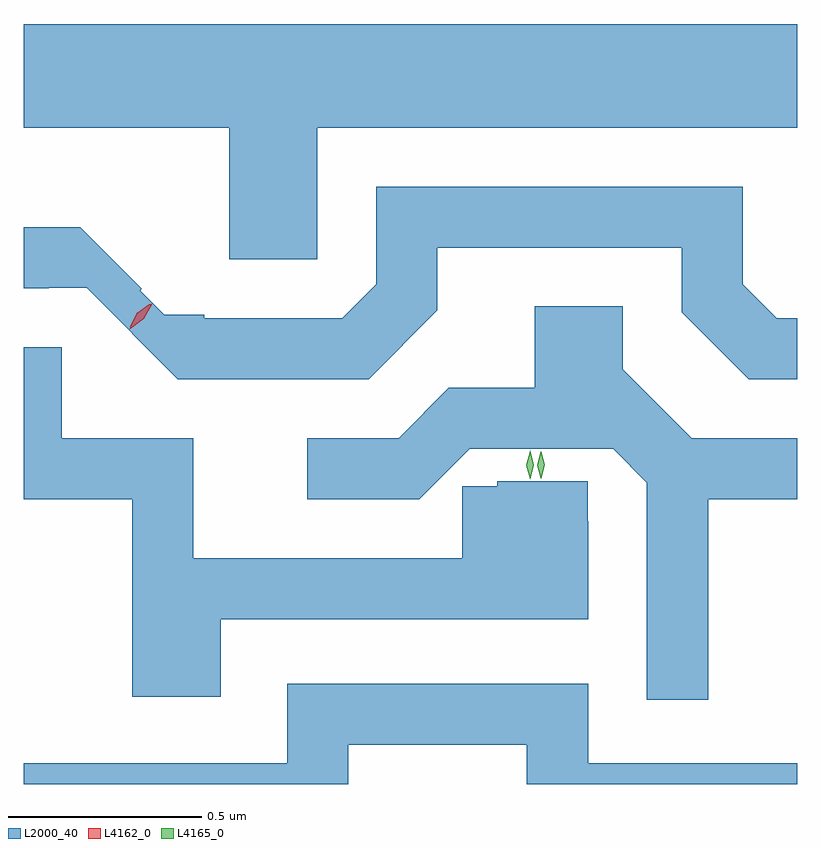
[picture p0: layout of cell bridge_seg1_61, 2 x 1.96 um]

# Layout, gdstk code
import gdstk
lib = gdstk.Library(unit=1e-6, precision=1e-09)
def P(c, l, *ps):  # polygons
    for p in ps: c.add(gdstk.Polygon(p, *l))
L2000_40 = (2000, 40)
L4162_0 = (4162, 0)
L4165_0 = (4165, 0)

bridge_seg1_61 = lib.new_cell('bridge_seg1_61')
P(bridge_seg1_61, L2000_40, [(1860.319,884.036),(1861.56,884.036),(1861.56,884.304),(1859.56,884.304),(1859.56,884.036),(1860.091,884.036),(1860.091,883.696),(1860.319,883.696)],
  [(1860.629,883.564),(1860.629,883.726),(1861.261,883.726),(1861.261,883.559),(1861.434,883.386),(1861.56,883.386),(1861.56,883.544),(1861.507,883.544),(1861.419,883.632),(1861.419,883.884),(1860.471,883.884),(1860.471,883.632),(1860.384,883.544),(1860.027,883.544),(1860.027,883.553),(1859.923,883.553),(1859.861,883.615),(1859.865,883.62),(1859.706,883.779),(1859.56,883.779),(1859.56,883.621),(1859.625,883.621),(1859.625,883.622),(1859.724,883.622),(1859.959,883.386),(1860.452,883.386)],
  [(1861.329,883.076),(1861.56,883.076),(1861.56,883.234),(1861.287,883.234),(1861.109,883.412),(1861.109,883.574),(1860.881,883.574),(1860.881,883.364),(1860.659,883.364),(1860.529,883.234),(1860.293,883.234),(1860.293,883.076),(1860.583,883.076),(1860.713,883.206),(1861.084,883.206),(1861.171,883.119),(1861.171,882.558),(1861.329,882.558)],
  [(1860.069,882.766),(1861.019,882.766),(1861.019,883.019),(1861.018,883.019),(1861.018,883.122),(1860.784,883.122),(1860.784,883.109),(1860.694,883.109),(1860.694,882.924),(1859.999,882.924),(1859.999,883.234),(1859.659,883.234),(1859.659,883.469),(1859.56,883.469),(1859.56,883.076),(1859.841,883.076),(1859.841,882.566),(1860.069,882.566)],
  [(1860.399,882.441),(1860.861,882.441),(1860.861,882.34),(1861.56,882.34),(1861.56,882.394),(1861.019,882.394),(1861.019,882.599),(1860.241,882.599),(1860.241,882.394),(1859.56,882.394),(1859.56,882.34),(1860.399,882.34)])
P(bridge_seg1_61, L4162_0, [(1859.836,883.521),(1859.836,883.522),(1859.853,883.557),(1859.885,883.58),(1859.886,883.58),(1859.886,883.579),(1859.868,883.544),(1859.836,883.521)],
  [(1859.834,883.515),(1859.834,883.516),(1859.856,883.555),(1859.892,883.582),(1859.893,883.582),(1859.893,883.581),(1859.871,883.542),(1859.834,883.515)])
P(bridge_seg1_61, L4165_0, [(1860.869,883.127),(1860.869,883.128),(1860.859,883.164),(1860.869,883.201),(1860.869,883.202),(1860.87,883.201),(1860.879,883.164),(1860.87,883.128)],
  [(1860.898,883.129),(1860.897,883.13),(1860.888,883.164),(1860.897,883.199),(1860.897,883.2),(1860.898,883.199),(1860.907,883.165),(1860.898,883.13)])

lib.write_gds('bridge_seg1_61.gds')
